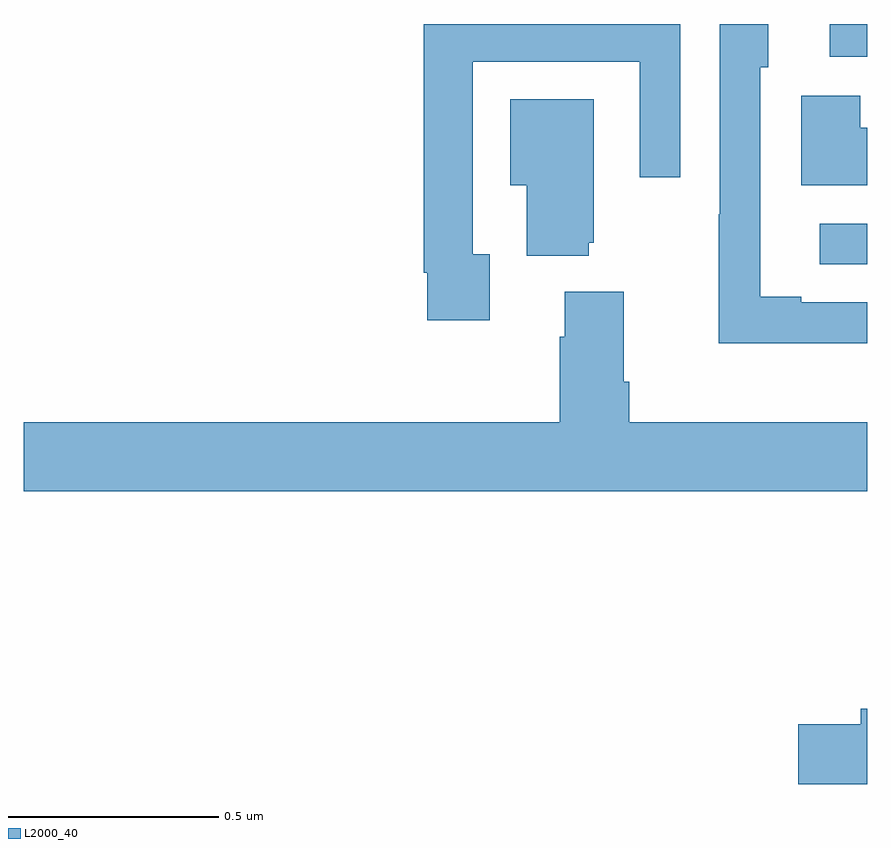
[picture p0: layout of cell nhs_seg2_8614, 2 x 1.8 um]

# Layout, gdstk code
import gdstk
lib = gdstk.Library(unit=1e-6, precision=1e-09)
def R(c, l, rs):  # rectangles x0, y0, x1, y1
    for r in rs: c.add(gdstk.rectangle(r[:2], r[2:], *l))
def P(c, l, *ps):  # polygons
    for p in ps: c.add(gdstk.Polygon(p, *l))
L2000_40 = (2000, 40)

nhs_seg2_8614 = lib.new_cell('nhs_seg2_8614')
R(nhs_seg2_8614, L2000_40, [(220.887,592.23,221,592.326), (220.911,592.722,221,592.8)])
P(nhs_seg2_8614, L2000_40, [(221,592.14),(220.843,592.14),(220.843,592.153),(220.746,592.153),(220.746,592.698),(220.765,592.698),(220.765,592.8),(220.65,592.8),(220.65,592.349),(220.648,592.349),(220.648,592.043),(221,592.043)],
  [(220.105,592.254),(220.065,592.254),(220.065,592.71),(220.461,592.71),(220.461,592.437),(220.557,592.437),(220.557,592.8),(219.949,592.8),(219.949,592.21),(219.957,592.21),(219.957,592.098),(220.105,592.098)],
  [(221,592.554),(220.983,592.554),(220.983,592.63),(220.844,592.63),(220.844,592.418),(221,592.418)],
  [(220.34,592.281),(220.351,592.281),(220.351,592.621),(220.154,592.621),(220.154,592.418),(220.193,592.418),(220.193,592.25),(220.34,592.25)],
  [(221,591.856),(220.436,591.856),(220.436,591.952),(220.423,591.952),(220.423,592.165),(220.283,592.165),(220.283,592.058),(220.271,592.058),(220.271,591.856),(219,591.856),(219,591.692),(221,591.692)],
  [(221,591.176),(220.985,591.176),(220.985,591.14),(220.836,591.14),(220.836,590.998),(221,590.998)])

lib.write_gds('nhs_seg2_8614.gds')
